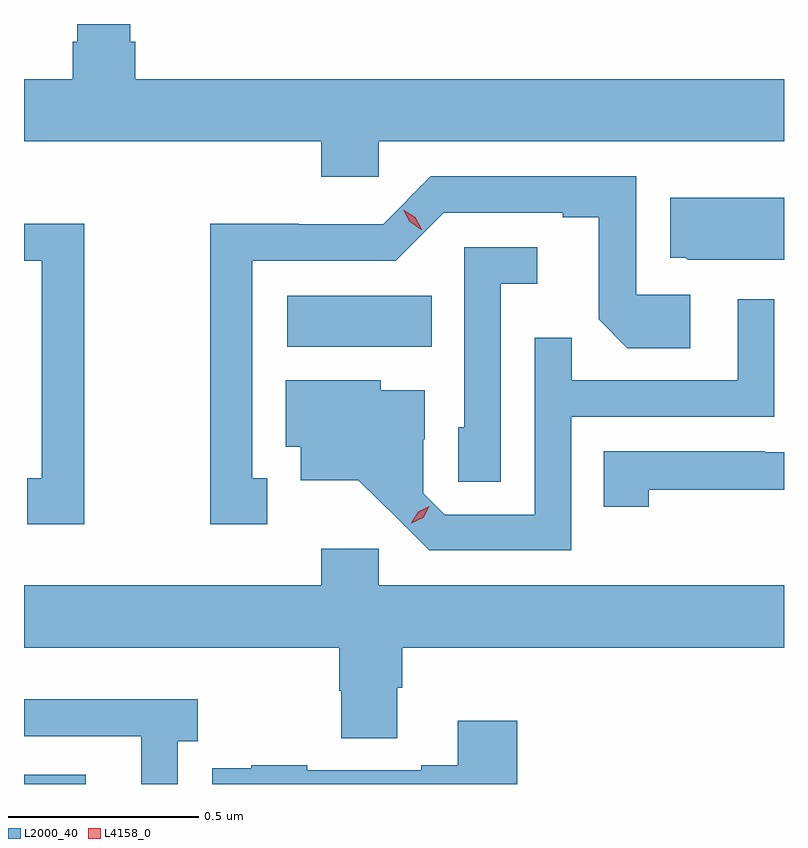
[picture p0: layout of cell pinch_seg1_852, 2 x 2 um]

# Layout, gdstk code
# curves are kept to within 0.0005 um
import gdstk
lib = gdstk.Library(unit=1e-6, precision=1e-09)
def R(c, l, rs):  # rectangles x0, y0, x1, y1
    for r in rs: c.add(gdstk.rectangle(r[:2], r[2:], *l))
def P(c, l, *ps):  # polygons
    for p in ps: c.add(gdstk.Polygon(p, *l))
L2000_40 = (2000, 40)
L4158_0 = (4158, 0)

pinch_seg1_852 = lib.new_cell('pinch_seg1_852')
R(pinch_seg1_852, L2000_40, [(479.229,556.701,479.392,556.725), (479.922,557.852,480.302,557.986)])
P(pinch_seg1_852, L2000_40, [(480.162,558.392),(481.229,558.392),(481.229,558.556),(479.522,558.556),(479.522,558.654),(479.509,558.654),(479.509,558.701),(479.369,558.701),(479.369,558.654),(479.357,558.654),(479.357,558.556),(479.229,558.556),(479.229,558.392),(480.011,558.392),(480.011,558.299),(480.162,558.299)],
  [(479.869,557.505),(479.83,557.505),(479.83,558.078),(480.207,558.078),(480.333,558.204),(480.647,558.204),(480.647,558.192),(480.741,558.192),(480.741,557.924),(480.817,557.848),(480.982,557.848),(480.982,557.988),(480.84,557.988),(480.84,558.3),(480.3,558.3),(480.174,558.174),(479.952,558.174),(479.952,558.176),(479.719,558.176),(479.719,557.385),(479.869,557.385)],
  [(481.11,558.081),(481.229,558.081),(481.229,558.244),(480.929,558.244),(480.929,558.086),(480.97,558.086),(480.976,558.08),(481.11,558.08)],
  [(479.387,558.176),(479.229,558.176),(479.229,558.078),(479.276,558.078),(479.276,557.505),(479.237,557.505),(479.237,557.385),(479.387,557.385)],
  [(480.483,558.017),(480.58,558.017),(480.58,558.114),(480.387,558.114),(480.387,557.64),(480.372,557.64),(480.372,557.497),(480.483,557.497)],
  [(480.669,557.667),(481.203,557.667),(481.203,557.977),(481.107,557.977),(481.107,557.763),(480.671,557.763),(480.671,557.876),(480.573,557.876),(480.573,557.409),(480.336,557.409),(480.279,557.466),(480.279,557.608),(480.283,557.608),(480.283,557.737),(480.168,557.737),(480.168,557.764),(479.918,557.764),(479.918,557.588),(479.957,557.588),(479.957,557.501),(480.109,557.501),(480.296,557.316),(480.669,557.316)],
  [(480.873,557.476),(481.229,557.476),(481.229,557.574),(481.178,557.574),(481.178,557.577),(480.754,557.577),(480.754,557.43),(480.873,557.43)],
  [(480.211,556.954),(480.224,556.954),(480.224,557.06),(481.229,557.06),(481.229,557.224),(480.162,557.224),(480.162,557.32),(480.011,557.32),(480.011,557.224),(479.229,557.224),(479.229,557.06),(480.059,557.06),(480.059,556.947),(480.064,556.947),(480.064,556.822),(480.211,556.822)],
  [(479.634,556.814),(479.686,556.814),(479.686,556.924),(479.229,556.924),(479.229,556.827),(479.537,556.827),(479.537,556.701),(479.634,556.701)],
  [(480.527,556.867),(480.371,556.867),(480.371,556.75),(480.275,556.75),(480.275,556.737),(479.975,556.737),(479.975,556.75),(479.827,556.75),(479.827,556.743),(479.725,556.743),(479.725,556.701),(480.527,556.701)])
P(pinch_seg1_852, L4158_0, [(480.275,558.16),(480.244,558.18),(480.227,558.212),(480.227,558.212),(480.227,558.212),(480.259,558.193),(480.276,558.161),(480.276,558.16)],
  [(480.248,557.387),(480.248,557.388),(480.266,557.417),(480.296,557.432),(480.296,557.432),(480.296,557.432),(480.279,557.402),(480.248,557.387)])

lib.write_gds('pinch_seg1_852.gds')
